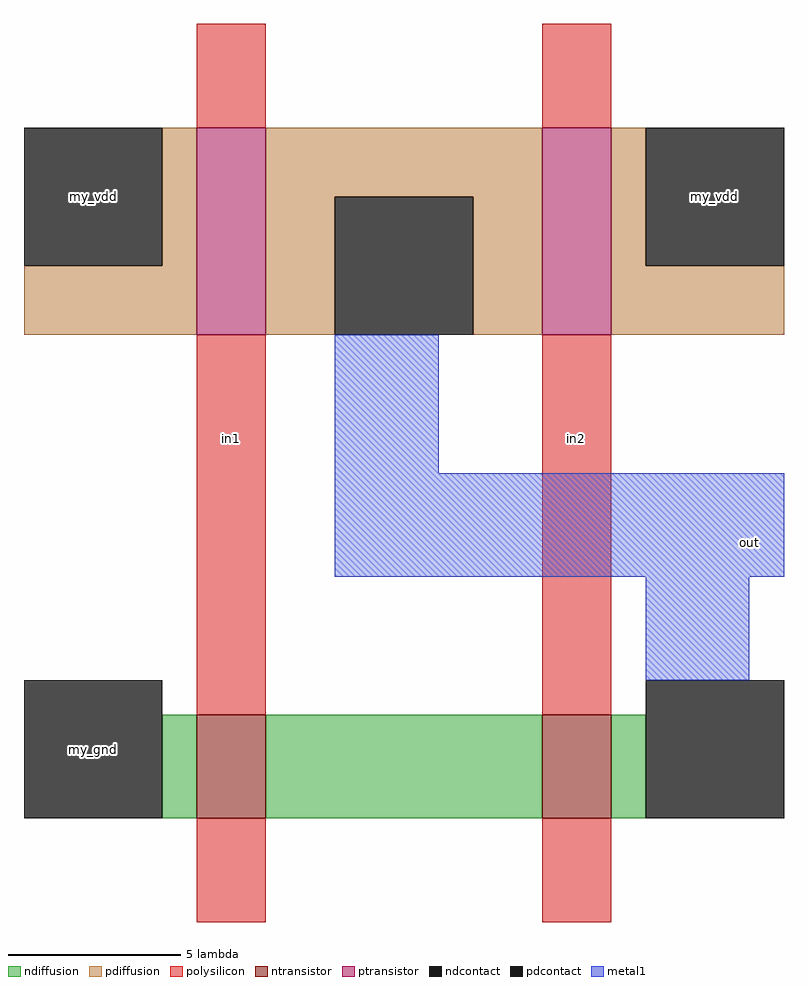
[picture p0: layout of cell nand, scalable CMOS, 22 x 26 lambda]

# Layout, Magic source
magic
tech scmos
<< polysilicon >>
rect -21 22 -19 25
rect -11 22 -9 25
rect -21 5 -19 16
rect -11 5 -9 16
rect -21 -1 -19 2
rect -11 -1 -9 2
<< ndiffusion >>
rect -22 2 -21 5
rect -19 2 -11 5
rect -9 2 -8 5
<< pdiffusion >>
rect -22 18 -21 22
rect -26 16 -21 18
rect -19 20 -11 22
rect -19 16 -17 20
rect -13 16 -11 20
rect -9 18 -8 22
rect -9 16 -4 18
<< metal1 >>
rect -17 12 -14 16
rect -17 9 -4 12
rect -8 6 -5 9
<< ntransistor >>
rect -21 2 -19 5
rect -11 2 -9 5
<< ptransistor >>
rect -21 16 -19 22
rect -11 16 -9 22
<< ndcontact >>
rect -26 2 -22 6
rect -8 2 -4 6
<< pdcontact >>
rect -26 18 -22 22
rect -17 16 -13 20
rect -8 18 -4 22
<< labels >>
rlabel polysilicon -20 13 -20 13 1 in1
rlabel polysilicon -10 13 -10 13 1 in2
rlabel pdcontact -24 20 -24 20 4 my_vdd
rlabel pdcontact -6 20 -6 20 6 my_vdd
rlabel ndcontact -24 4 -24 4 2 my_gnd
rlabel metal1 -5 10 -5 10 7 out
<< end >>
